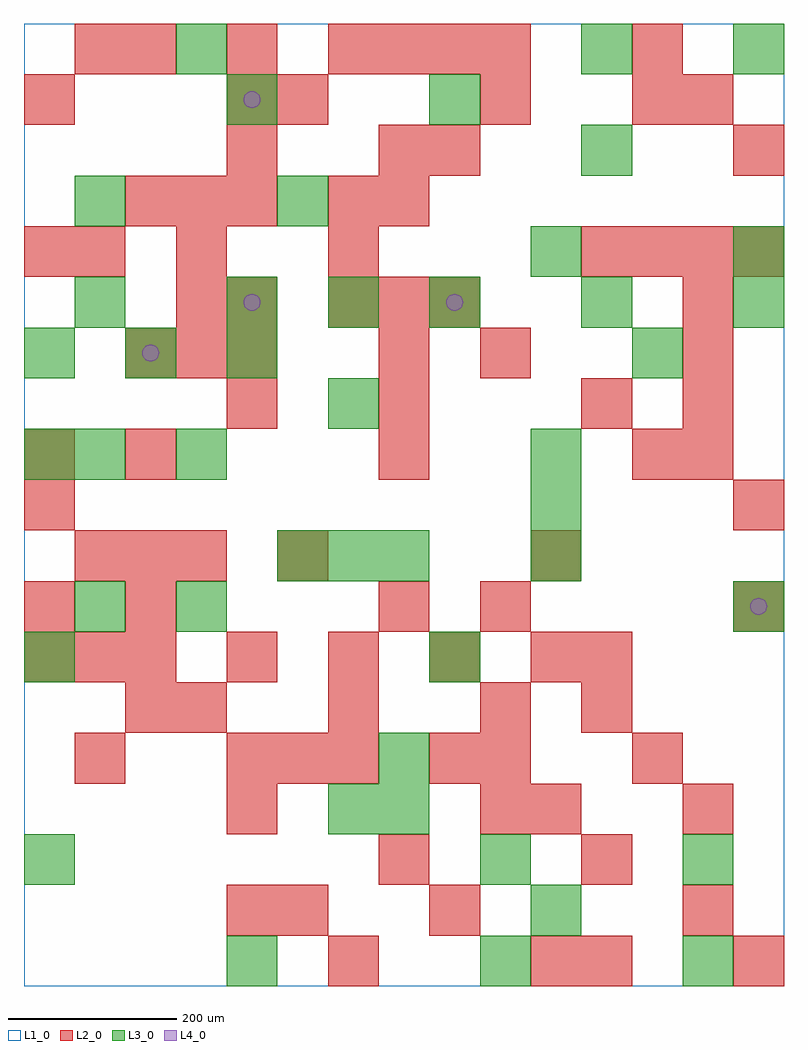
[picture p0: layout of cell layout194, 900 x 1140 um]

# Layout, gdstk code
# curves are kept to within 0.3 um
import gdstk
lib = gdstk.Library(unit=1e-6, precision=1e-09)
def R(c, l, rs):  # rectangles x0, y0, x1, y1
    for r in rs: c.add(gdstk.rectangle(r[:2], r[2:], *l))
def A(c, l, x, y, w, h, nx, ny, dx, dy):  # array of equal rectangles
    R(c, l, [(x+i*dx, y+j*dy, x+i*dx+w, y+j*dy+h) for i in range(nx) for j in range(ny)])
def P(c, l, *ps):  # polygons
    for p in ps: c.add(gdstk.Polygon(p, *l))
L1_0 = (1, 0)
L2_0 = (2, 0)
L3_0 = (3, 0)
L4_0 = (4, 0)

layout194 = lib.new_cell('layout194')
R(layout194, L1_0, [(0,0,900,1140)])
A(layout194, L2_0, 240, 240, 60, 60, 3, 1, 60, 0)
A(layout194, L2_0, 180, 300, 60, 60, 3, 1, 180, 0)
A(layout194, L2_0, 0, 360, 60, 60, 3, 1, 60, 0)
A(layout194, L2_0, 240, 360, 60, 60, 4, 1, 120, 0)
A(layout194, L2_0, 540, 420, 60, 60, 1, 3, 0, 300)
A(layout194, L2_0, 60, 480, 60, 60, 3, 1, 60, 0)
A(layout194, L2_0, 120, 600, 60, 60, 3, 1, 300, 0)
A(layout194, L2_0, 780, 600, 60, 60, 1, 4, 0, 60)
A(layout194, L2_0, 120, 720, 60, 60, 3, 2, 60, 180)
A(layout194, L2_0, 360, 780, 60, 60, 3, 1, 60, 0)
A(layout194, L2_0, 660, 840, 60, 60, 4, 1, 60, 0)
A(layout194, L2_0, 120, 1080, 60, 60, 3, 1, 120, 0)
A(layout194, L2_0, 420, 1080, 60, 60, 3, 1, 60, 0)
R(layout194, L2_0, [(360,0,420,60), (600,0,660,60), (660,0,720,60), (840,0,900,60), (240,60,300,120), (300,60,360,120), (480,60,540,120), (780,60,840,120), (420,120,480,180), (660,120,720,180), (240,180,300,240), (540,180,600,240), (600,180,660,240), (780,180,840,240), (60,240,120,300), (480,240,540,300), (540,240,600,300), (720,240,780,300), (120,300,180,360), (660,300,720,360), (660,360,720,420), (0,420,60,480), (120,420,180,480), (420,420,480,480), (840,420,900,480), (300,480,360,540), (600,480,660,540), (0,540,60,600), (840,540,900,600), (0,600,60,660), (240,660,300,720), (420,660,480,720), (660,660,720,720), (420,720,480,780), (180,780,240,840), (240,780,300,840), (0,840,60,900), (60,840,120,900), (180,840,240,900), (360,840,420,900), (360,900,420,960), (420,900,480,960), (240,960,300,1020), (420,960,480,1020), (480,960,540,1020), (840,960,900,1020), (0,1020,60,1080), (240,1020,300,1080), (300,1020,360,1080), (720,1020,780,1080), (780,1020,840,1080), (60,1080,120,1140), (720,1080,780,1140)])
A(layout194, L3_0, 0, 120, 60, 60, 1, 3, 0, 240)
A(layout194, L3_0, 60, 420, 60, 60, 1, 3, 0, 180)
A(layout194, L3_0, 300, 480, 60, 60, 3, 1, 60, 0)
A(layout194, L3_0, 600, 480, 60, 60, 1, 3, 0, 60)
A(layout194, L3_0, 0, 720, 60, 60, 3, 1, 120, 0)
A(layout194, L3_0, 240, 780, 60, 60, 3, 1, 120, 0)
R(layout194, L3_0, [(240,0,300,60), (540,0,600,60), (780,0,840,60), (600,60,660,120), (540,120,600,180), (780,120,840,180), (360,180,420,240), (420,180,480,240), (420,240,480,300), (480,360,540,420), (180,420,240,480), (840,420,900,480), (180,600,240,660), (360,660,420,720), (720,720,780,780), (660,780,720,840), (840,780,900,840), (600,840,660,900), (840,840,900,900), (60,900,120,960), (300,900,360,960), (660,960,720,1020), (240,1020,300,1080), (480,1020,540,1080), (180,1080,240,1140), (660,1080,720,1140), (840,1080,900,1140)])
P(layout194, L4_0, [(160,750),(159.239,753.827),(157.071,757.071),(153.827,759.239),(150,760),(146.173,759.239),(142.929,757.071),(140.761,753.827),(140,750),(140.761,746.173),(142.929,742.929),(146.173,740.761),(150,740),(153.827,740.761),(157.071,742.929),(159.239,746.173)],
  [(280,810),(279.239,813.827),(277.071,817.071),(273.827,819.239),(270,820),(266.173,819.239),(262.929,817.071),(260.761,813.827),(260,810),(260.761,806.173),(262.929,802.929),(266.173,800.761),(270,800),(273.827,800.761),(277.071,802.929),(279.239,806.173)],
  [(280,1050),(279.239,1053.827),(277.071,1057.071),(273.827,1059.239),(270,1060),(266.173,1059.239),(262.929,1057.071),(260.761,1053.827),(260,1050),(260.761,1046.173),(262.929,1042.929),(266.173,1040.761),(270,1040),(273.827,1040.761),(277.071,1042.929),(279.239,1046.173)],
  [(520,810),(519.239,813.827),(517.071,817.071),(513.827,819.239),(510,820),(506.173,819.239),(502.929,817.071),(500.761,813.827),(500,810),(500.761,806.173),(502.929,802.929),(506.173,800.761),(510,800),(513.827,800.761),(517.071,802.929),(519.239,806.173)],
  [(880,450),(879.239,453.827),(877.071,457.071),(873.827,459.239),(870,460),(866.173,459.239),(862.929,457.071),(860.761,453.827),(860,450),(860.761,446.173),(862.929,442.929),(866.173,440.761),(870,440),(873.827,440.761),(877.071,442.929),(879.239,446.173)])

lib.write_gds('layout194.gds')
